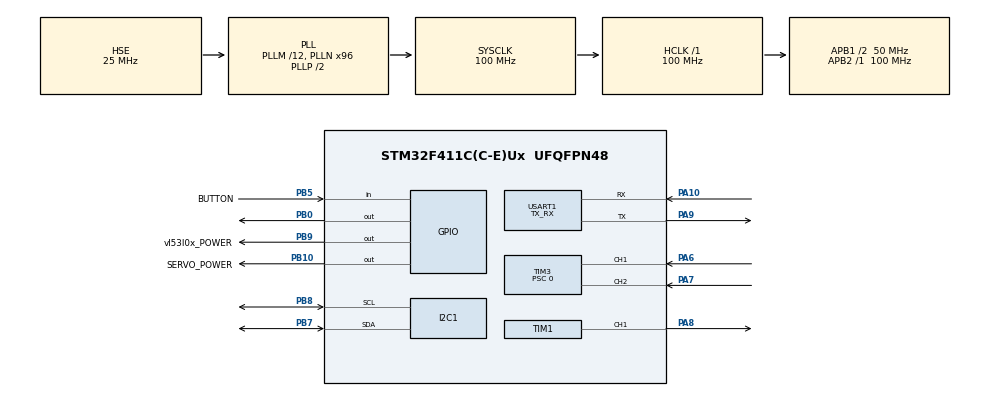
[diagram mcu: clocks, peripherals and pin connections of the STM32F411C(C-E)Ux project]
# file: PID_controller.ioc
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I2C1.I2C_Mode=I2C_Standard
Mcu.Family=STM32F4
Mcu.Name=STM32F411C(C-E)Ux
Mcu.Package=UFQFPN48
NVIC.PriorityGroup=NVIC_PRIORITYGROUP_1
NVIC.TIM1_UP_TIM10_IRQn=true\:0\:0\:false\:true\:true\:1\:true\:true
PA10.Mode=Asynchronous
PA10.Signal=USART1_RX
PA6.Signal=S_TIM3_CH1
PA7.Signal=S_TIM3_CH2
PA8.Signal=S_TIM1_CH1
PA9.Mode=Asynchronous
PA9.Signal=USART1_TX
PB0.Signal=GPIO_Output
PB10.GPIO_Label=SERVO_POWER
PB10.GPIO_Speed=GPIO_SPEED_FREQ_MEDIUM
PB10.PinState=GPIO_PIN_RESET
PB10.Signal=GPIO_Output
PB5.GPIO_Label=BUTTON
PB5.GPIO_PuPd=GPIO_PULLUP
PB5.Signal=GPIO_Input
PB7.Mode=I2C
PB7.Signal=I2C1_SDA
PB8.Mode=I2C
PB8.Signal=I2C1_SCL
PB9.GPIO_Label=vl53l0x_POWER
PB9.GPIO_Speed=GPIO_SPEED_FREQ_MEDIUM
PB9.Signal=GPIO_Output
PC14-OSC32_IN.Mode=LSE-External-Oscillator
PC14-OSC32_IN.Signal=RCC_OSC32_IN
PC15-OSC32_OUT.Mode=LSE-External-Oscillator
PC15-OSC32_OUT.Signal=RCC_OSC32_OUT
PH0\ -\ OSC_IN.Mode=HSE-External-Oscillator
PH0\ -\ OSC_IN.Signal=RCC_OSC_IN
PH1\ -\ OSC_OUT.Mode=HSE-External-Oscillator
PH1\ -\ OSC_OUT.Signal=RCC_OSC_OUT
ProjectManager.HeapSize=0x200
ProjectManager.StackSize=0x400
ProjectManager.TargetToolchain=STM32CubeIDE
RCC.48MHZClocksFreq_Value=50000000
RCC.AHBFreq_Value=100000000
RCC.APB1CLKDivider=RCC_HCLK_DIV2
RCC.APB1Freq_Value=50000000
RCC.APB1TimFreq_Value=100000000
RCC.APB2Freq_Value=100000000
RCC.APB2TimFreq_Value=100000000
RCC.CortexFreq_Value=100000000
RCC.HCLKFreq_Value=100000000
RCC.HSE_VALUE=25000000
RCC.HSI_VALUE=16000000
RCC.PLLM=12
RCC.PLLN=96
RCC.PLLSourceVirtual=RCC_PLLSOURCE_HSE
RCC.RCC_RTC_Clock_Source=RCC_RTCCLKSOURCE_LSE
RCC.RCC_RTC_Clock_SourceVirtual=RCC_RTCCLKSOURCE_LSE
RCC.RCC_RTC_Clock_Source_FROM_HSE=RCC_RTCCLKSOURCE_HSE_DIV31
RCC.SYSCLKFreq_VALUE=100000000
RCC.SYSCLKSource=RCC_SYSCLKSOURCE_PLLCLK
RCC.VCOOutputFreq_Value=200000000
SH.S_TIM1_CH1.0=TIM1_CH1,PWM Generation1 CH1
SH.S_TIM3_CH1.0=TIM3_CH1,Encoder_Interface
SH.S_TIM3_CH2.0=TIM3_CH2,Encoder_Interface
TIM1.Channel-PWM\ Generation1\ CH1=TIM_CHANNEL_1
TIM1.Period=1999
TIM1.Prescaler=999
TIM1.Pulse-PWM\ Generation1\ CH1=99
TIM10.Period=99
TIM10.Prescaler=999
TIM2.Prescaler=99
TIM3.EncoderMode=TIM_ENCODERMODE_TI12
TIM3.IC1Filter=15
TIM3.IC1Prescaler=TIM_ICPSC_DIV1
TIM3.IC2Filter=15
TIM3.IC2Prescaler=TIM_ICPSC_DIV1
TIM3.Period=32000
TIM3.Prescaler=0
USART1.Mode=MODE_TX_RX
USART1.VirtualMode=VM_ASYNC
VP_RTC_VS_RTC_Activate.Mode=RTC_Enabled
VP_TIM10_VS_ClockSourceINT.Mode=Enable_Timer
VP_TIM1_VS_ClockSourceINT.Mode=Internal
VP_TIM2_VS_ClockSourceINT.Mode=Internal
board=custom

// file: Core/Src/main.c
/* USER CODE BEGIN Header */
/**
  ******************************************************************************
  * @file           : main.c
  * @brief          : Main program body
  ******************************************************************************
  * @attention
  *
  * <h2><center>&copy; Copyright (c) 2021 STMicroelectronics.
  * All rights reserved.</center></h2>
  *
  * This software component is licensed by ST under BSD 3-Clause license,
  * the "License"; You may not use this file except in compliance with the
  * License. You may obtain a copy of the License at:
  *                        opensource.org/licenses/BSD-3-Clause
  *
  ******************************************************************************
  */
/* USER CODE END Header */
#include "main.h"
#include "i2c.h"
#include "rtc.h"
#include "tim.h"
#include "usart.h"
#include "gpio.h"

/* USER CODE BEGIN Includes */
#include <stdio.h>
#include <stdlib.h>
#include "dwt_Delay.h"
#include "vl53l0x.h"
#include "measure_time.h"
#include "my_PID.h"
#include "../LCD_hd44780/LCD_init.h"

/* USER CODE END Includes */

/* USER CODE BEGIN PD */
#define REPEAT_MEASURE 2
#define MIN_SCORE_TO_MOVE 3
/* USER CODE END PD */

/* USER CODE BEGIN PV */
enum _menu{
		START,
		TARGET,
		KP,
		KI,
		KD,
		MENU_SIZE
	};
struct{
	uint16_t score;
	uint16_t score_previous;
	uint16_t score_stored;
	uint16_t button_previous;
	volatile uint16_t button :1;
}encoder;
char * menu_text[MENU_SIZE] = {"Start", "Target", "Kp", "Ki", "Kd"};

char lcd_text[17] = {"0\0"};

volatile uint16_t measure_score = 0;

float PID = 0.0;

float Kp = 1.4;
float Ki = 1.0;
float Kd = 0.9;
uint8_t pid_status = 0;

float err;

float measured_time_s = 0.0;
// target to get in mm
float target = 120.0;

/* USER CODE END PV */

void SystemClock_Config(void);
static void MX_NVIC_Init(void);
/* USER CODE BEGIN PFP */
void button_handler(void);

// only for work delete in the end
void checkDev_sendToTerminal(uint8_t addr);
void deviceList_sendToTerminal(void);
// -------------------------------------//
/* USER CODE END PFP */

int main(void)
{

  /* MCU Configuration--------------------------------------------------------*/

  /* Reset of all peripherals, Initializes the Flash interface and the Systick. */
  HAL_Init();

  /* Configure the system clock */
  SystemClock_Config();

  /* USER CODE BEGIN SysInit */
  DWT_Delay_Init();

  /* USER CODE END SysInit */

  /* Initialize all configured peripherals */
  MX_GPIO_Init();
  MX_RTC_Init();
  MX_USART1_UART_Init();
  MX_I2C1_Init();
  MX_TIM1_Init();
  MX_TIM2_Init();
  MX_TIM10_Init();
  MX_TIM3_Init();

  /* Initialize interrupts */
  MX_NVIC_Init();
  /* USER CODE BEGIN 2 */
  init_lcd(DWT_Delay_us_);
  /* USER CODE END 2 */

  /* Infinite loop */
  /* USER CODE BEGIN WHILE */
  //deviceList_sendToTerminal();

  // servo initial value for leveling
  htim1.Instance->CCR1 = 150;
  // start PWM to control servo
  HAL_TIM_PWM_Start(&htim1, TIM_CHANNEL_1);

  __HAL_TIM_CLEAR_FLAG(&htim10, TIM_FLAG_UPDATE);
  HAL_TIM_Base_Start_IT(&htim10);
  //start channels 1 and 2 in timer3 to work with encoder
  HAL_TIM_IC_Start(&htim3, TIM_CHANNEL_1);
  HAL_TIM_IC_Start(&htim3, TIM_CHANNEL_2);
  //todo: nie zgłasza przerwań od przepelnienia channel2

  //HAL_TIM_Base_Start(&htim2);

  //uint8_t div_tab[100] = {0};
 // HAL_UART_Transmit(&huart1, (uint8_t *)"startuje init\n\r", 15, 50);
  lcd_str("start vl53l0x");
  // power on
  HAL_GPIO_WritePin(vl53l0x_POWER_GPIO_Port, vl53l0x_POWER_Pin, RESET);
  // wait 35 ms
  DWT_Delay_us_(35000);
  // init vl53l0x
  uint8_t init = vl53l0x_Init(0);
  //sprintf((char *)div_tab, "init: %d\n\r", init);
  //HAL_UART_Transmit(&huart1, div_tab, 10, 50);
  sprintf((char*)lcd_text, "wynik init: %d", init);
  lcd_cls();
  lcd_str(lcd_text);
  DWT_Delay_us_(1000000);
  // servo power on
  HAL_GPIO_WritePin(SERVO_POWER_GPIO_Port, SERVO_POWER_Pin, RESET);

  sprintf((char*)lcd_text, menu_text[START]);
  lcd_cls();
  lcd_str(lcd_text);
  lcd_locate(1, 0);
  sprintf((char*)lcd_text, "OFF");
  lcd_str(lcd_text);
  // registering the function handler of a click button
  measure_time_callback_register(button_handler);
  // start first measure time
  timeIt_Start_us();

  while (1)
  {
	  measure_score = 0;
	 for(uint8_t i = 0; i < REPEAT_MEASURE; i++)
	  {
		 measure_score += vl53l0x_ReadRangeSingleMillimeters(0);
	  }

	  // mean
	  measure_score /= REPEAT_MEASURE;

	  err = target - measure_score;

	  // get time in second
	  measured_time_s = (timeIt_GetCounter_us()/1000000.0);

	  if(pid_status){
	  // get pid value
	  PID = get_PID(err, measured_time_s, Kp, Ki, Kd);
	  htim1.Instance->CCR1 = 140 + (PID/10);

	  }
	  timeIt_Start_us();

	  encoder.score = htim3.Instance->CNT;
	  char test =' ';
	  if(encoder.button)test = '<'; else test = ' ';

	  //simple menu
	  // if encoder has shifted
	  if(encoder.score != encoder.score_previous || encoder.button != encoder.button_previous){
		  int32_t temp;
		  // if button is 1 then change positon of menu, else change value of selected positon
		  if(!encoder.button){
			  // if encoder was used to change valuse of selected positon, reset it to positon value
			  if(abs(encoder.score_stored - encoder.score) > 4)
				  htim3.Instance->CNT = encoder.score_stored;
			  else
				  encoder.score_stored = encoder.score;
		  }
		  else{
			  temp =  encoder.score - encoder.score_previous;
		  }

		  lcd_locate(0, 0);
		  lcd_cls();
		  switch((encoder.score_stored/4)%MENU_SIZE){
		  case START:
			  sprintf((char*)lcd_text, menu_text[START]);
			  lcd_str(lcd_text);
			  lcd_locate(1, 0);
			  if(encoder.button){
				  if(abs(temp) >= MIN_SCORE_TO_MOVE)
					  pid_status ^= 1;
			  }

			  if(pid_status == 0)
				  sprintf((char*)lcd_text, "OFF%c",test);
			  else
				  sprintf((char*)lcd_text, "ON%c", test);
			  lcd_str(lcd_text);
			  break;
		  case TARGET:
			  sprintf((char*)lcd_text, menu_text[TARGET]);
			  lcd_str(lcd_text);
			  lcd_locate(1, 0);
			  sprintf((char*)lcd_text, "%.0f%c", target, test);
			  lcd_str(lcd_text);
			  if(encoder.button){
				  if(temp >= MIN_SCORE_TO_MOVE)
					  target += 1.0;
				  else if(temp <= -MIN_SCORE_TO_MOVE)
					  target -= 1.0;
			  }
			  break;
		  case KP:
			  sprintf((char*)lcd_text, menu_text[KP]);
			  lcd_str(lcd_text);
			  lcd_locate(1, 0);
			  sprintf((char*)lcd_text, "%.1f%c", Kp, test);
			  if(encoder.button){
				  if(temp >= MIN_SCORE_TO_MOVE)
					  Kp += 0.1;
				  else if(temp <= -MIN_SCORE_TO_MOVE)
					  Kp -= 0.1;
			  }
			  lcd_str(lcd_text);
			  break;
		  case KI:
			  sprintf((char*)lcd_text, menu_text[KI]);
			  lcd_str(lcd_text);
			  lcd_locate(1, 0);
			  sprintf((char*)lcd_text, "%.1f%c", Ki, test);
			  if(encoder.button){
				  if(temp >= MIN_SCORE_TO_MOVE)
					  Ki += 0.1;
				  else if(temp <= -MIN_SCORE_TO_MOVE)
					  Ki -= 0.1;
			  }
			  lcd_str(lcd_text);
			  break;
		  case KD:
			  sprintf((char*)lcd_text, menu_text[KD]);
			  lcd_str(lcd_text);
			  lcd_locate(1, 0);
			  sprintf((char*)lcd_text, "%.1f%c", Kd, test);
			  if(encoder.button){
				  if(temp >= MIN_SCORE_TO_MOVE)
					  Kd += 0.1;
				  else if(temp <= -MIN_SCORE_TO_MOVE)
					  Kd -= 0.1;
			  }
			  lcd_str(lcd_text);
			  break;
		  }

	  }
	  // assigned actual values of buton and conter score
	  encoder.score_previous = encoder.score;
	  encoder.button_previous = encoder.button;
	  //lcd_locate(0, 0);

	  // sprintf((char *)div_tab, "P: %f\n\rI: %f\n\rD: %f\n\r", P, I, D);

	  //sprintf((char *)div_tab, "err: %f\n\r ", err);
	  //sprintf((char*)div_tab, "err: %d\n\r ", measure_score);

	  //HAL_UART_Transmit(&huart1, div_tab, 30, 20);

    /* USER CODE END WHILE */

  }
}

void SystemClock_Config(void)
{
  RCC_OscInitTypeDef RCC_OscInitStruct = {0};
  RCC_ClkInitTypeDef RCC_ClkInitStruct = {0};
  RCC_PeriphCLKInitTypeDef PeriphClkInitStruct = {0};

  /** Configure the main internal regulator output voltage
  */
  __HAL_RCC_PWR_CLK_ENABLE();
  __HAL_PWR_VOLTAGESCALING_CONFIG(PWR_REGULATOR_VOLTAGE_SCALE1);
  /** Initializes the RCC Oscillators according to the specified parameters
  * in the RCC_OscInitTypeDef structure.
  */
  RCC_OscInitStruct.OscillatorType = RCC_OSCILLATORTYPE_HSE|RCC_OSCILLATORTYPE_LSE;
  RCC_OscInitStruct.HSEState = RCC_HSE_ON;
  RCC_OscInitStruct.LSEState = RCC_LSE_ON;
  RCC_OscInitStruct.PLL.PLLState = RCC_PLL_ON;
  RCC_OscInitStruct.PLL.PLLSource = RCC_PLLSOURCE_HSE;
  RCC_OscInitStruct.PLL.PLLM = 12;
  RCC_OscInitStruct.PLL.PLLN = 96;
  RCC_OscInitStruct.PLL.PLLP = RCC_PLLP_DIV2;
  RCC_OscInitStruct.PLL.PLLQ = 4;
  if (HAL_RCC_OscConfig(&RCC_OscInitStruct) != HAL_OK)
  {
    Error_Handler();
  }
  /** Initializes the CPU, AHB and APB buses clocks
  */
  RCC_ClkInitStruct.ClockType = RCC_CLOCKTYPE_HCLK|RCC_CLOCKTYPE_SYSCLK
                              |RCC_CLOCKTYPE_PCLK1|RCC_CLOCKTYPE_PCLK2;
  RCC_ClkInitStruct.SYSCLKSource = RCC_SYSCLKSOURCE_PLLCLK;
  RCC_ClkInitStruct.AHBCLKDivider = RCC_SYSCLK_DIV1;
  RCC_ClkInitStruct.APB1CLKDivider = RCC_HCLK_DIV2;
  RCC_ClkInitStruct.APB2CLKDivider = RCC_HCLK_DIV1;

  if (HAL_RCC_ClockConfig(&RCC_ClkInitStruct, FLASH_LATENCY_3) != HAL_OK)
  {
    Error_Handler();
  }
  PeriphClkInitStruct.PeriphClockSelection = RCC_PERIPHCLK_RTC;
  PeriphClkInitStruct.RTCClockSelection = RCC_RTCCLKSOURCE_LSE;
  if (HAL_RCCEx_PeriphCLKConfig(&PeriphClkInitStruct) != HAL_OK)
  {
    Error_Handler();
  }
}

/**
  * @brief NVIC Configuration.
  * @retval None
  */
static void MX_NVIC_Init(void)
{
  /* TIM1_UP_TIM10_IRQn interrupt configuration */
  HAL_NVIC_SetPriority(TIM1_UP_TIM10_IRQn, 0, 0);
  HAL_NVIC_EnableIRQ(TIM1_UP_TIM10_IRQn);
}

/* USER CODE BEGIN 4 */
void HAL_TIM_PeriodElapsedCallback(TIM_HandleTypeDef *htim){
	appendTimeCounter();
}

// function to remove after end project//-----------------------------------------------------------//
void checkDev_sendToTerminal(uint8_t addr){
	uint8_t div_tab[30] = {0};
	uint8_t recive_data = 10;
	uint8_t status = (uint8_t)HAL_I2C_Mem_Read(&hi2c1, (addr<<1), 0x1, 1, &recive_data, 1, 20);
	sprintf((char *) div_tab, "\n\r status: %d\n\r rejstr: %d\n\r", status, recive_data);
	HAL_UART_Transmit(&huart1, (uint8_t *)"\n\r", 3, 50);
	uint8_t count = 0;
	while(div_tab[count++] != 0);
	HAL_UART_Transmit(&huart1, div_tab, count, 50);
}

void deviceList_sendToTerminal(void){

	  for(int i = 0 ;i < 128; i++){
		  uint8_t div_tab[10];
		  if(HAL_I2C_IsDeviceReady(&hi2c1, (uint16_t)(i<<1), 2, 5) == HAL_OK){
			  sprintf((char *)div_tab, "dev: %d", i);
			  HAL_UART_Transmit(&huart1, div_tab, 10, 50);
			  HAL_UART_Transmit(&huart1, (uint8_t *)"\n\r", 3, 50);

		  }

	  }
}
void button_handler(void){
	static uint8_t timeout;
	if(!timeout){
		  if(!HAL_GPIO_ReadPin(BUTTON_GPIO_Port, BUTTON_Pin) && !getMeasure_status(BUTTON_TIM)){
			  startMesure_ms(BUTTON_TIM);
		  }
		  if(getMesure_ms(BUTTON_TIM) > 50){
			  if(!HAL_GPIO_ReadPin(BUTTON_GPIO_Port, BUTTON_Pin)){
				  encoder.button ^=1;
				  stopMesure_ms(BUTTON_TIM);
				  timeout = 250;
				}
			}
	}else{
		timeout--;
	}
}
//---------------------------------------------------------------------------------------------------//
/* USER CODE END 4 */

void Error_Handler(void)
{
  __disable_irq();
  while (1)
  {
  }
}

/************************ (C) COPYRIGHT STMicroelectronics *****END OF FILE****/
